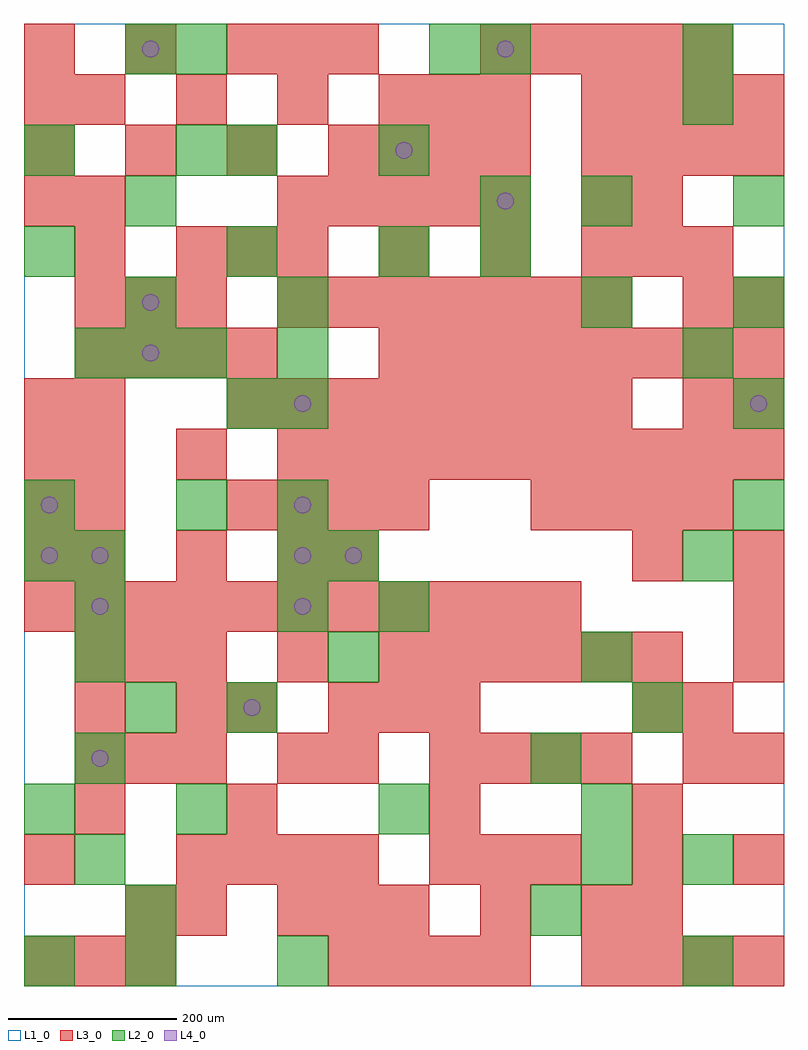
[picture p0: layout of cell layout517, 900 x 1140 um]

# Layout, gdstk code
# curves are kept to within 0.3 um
import gdstk
lib = gdstk.Library(unit=1e-6, precision=1e-09)
def R(c, l, rs):  # rectangles x0, y0, x1, y1
    for r in rs: c.add(gdstk.rectangle(r[:2], r[2:], *l))
def A(c, l, x, y, w, h, nx, ny, dx, dy):  # array of equal rectangles
    R(c, l, [(x+i*dx, y+j*dy, x+i*dx+w, y+j*dy+h) for i in range(nx) for j in range(ny)])
def P(c, l, *ps):  # polygons
    for p in ps: c.add(gdstk.Polygon(p, *l))
L1_0 = (1, 0)
L2_0 = (2, 0)
L3_0 = (3, 0)
L4_0 = (4, 0)

layout517 = lib.new_cell('layout517')
R(layout517, L1_0, [(0,0,900,1140)])
A(layout517, L2_0, 180, 180, 60, 60, 3, 1, 240, 0)
A(layout517, L2_0, 60, 360, 60, 60, 3, 1, 300, 0)
A(layout517, L2_0, 300, 420, 60, 60, 1, 3, 0, 60)
A(layout517, L2_0, 840, 540, 60, 60, 1, 4, 0, 120)
A(layout517, L2_0, 300, 660, 60, 60, 1, 3, 0, 60)
A(layout517, L2_0, 60, 720, 60, 60, 3, 1, 60, 0)
R(layout517, L2_0, [(0,0,60,60), (120,0,180,60), (300,0,360,60), (780,0,840,60), (120,60,180,120), (600,60,660,120), (60,120,120,180), (660,120,720,180), (780,120,840,180), (0,180,60,240), (60,240,120,300), (600,240,660,300), (120,300,180,360), (240,300,300,360), (720,300,780,360), (60,420,120,480), (420,420,480,480), (0,480,60,540), (60,480,120,540), (360,480,420,540), (780,480,840,540), (0,540,60,600), (180,540,240,600), (240,660,300,720), (780,720,840,780), (120,780,180,840), (660,780,720,840), (0,840,60,900), (240,840,300,900), (420,840,480,900), (540,840,600,900), (120,900,180,960), (540,900,600,960), (660,900,720,960), (0,960,60,1020), (180,960,240,1020), (240,960,300,1020), (420,960,480,1020), (780,1020,840,1080), (120,1080,180,1140), (180,1080,240,1140), (480,1080,540,1140), (540,1080,600,1140), (780,1080,840,1140)])
A(layout517, L3_0, 0, 0, 60, 60, 3, 1, 60, 0)
A(layout517, L3_0, 360, 0, 60, 60, 4, 1, 60, 0)
A(layout517, L3_0, 660, 0, 60, 60, 4, 2, 60, 960)
A(layout517, L3_0, 300, 60, 60, 60, 3, 1, 60, 0)
A(layout517, L3_0, 180, 120, 60, 60, 4, 1, 60, 0)
A(layout517, L3_0, 480, 120, 60, 60, 3, 1, 60, 0)
A(layout517, L3_0, 720, 120, 60, 60, 1, 3, 0, 180)
A(layout517, L3_0, 840, 120, 60, 60, 1, 3, 0, 120)
A(layout517, L3_0, 240, 180, 60, 60, 3, 1, 240, 0)
A(layout517, L3_0, 60, 240, 60, 60, 3, 2, 60, 120)
A(layout517, L3_0, 480, 240, 60, 60, 4, 1, 60, 0)
A(layout517, L3_0, 360, 300, 60, 60, 3, 1, 60, 0)
A(layout517, L3_0, 420, 360, 60, 60, 6, 1, 60, 0)
A(layout517, L3_0, 0, 420, 60, 60, 11, 1, 60, 0)
A(layout517, L3_0, 0, 480, 60, 60, 1, 4, 0, 60)
A(layout517, L3_0, 60, 480, 60, 60, 3, 2, 120, 120)
A(layout517, L3_0, 240, 540, 60, 60, 4, 1, 60, 0)
A(layout517, L3_0, 600, 540, 60, 60, 4, 1, 60, 0)
A(layout517, L3_0, 360, 600, 60, 60, 9, 1, 60, 0)
A(layout517, L3_0, 240, 660, 60, 60, 8, 1, 60, 0)
A(layout517, L3_0, 60, 720, 60, 60, 4, 1, 60, 0)
A(layout517, L3_0, 420, 720, 60, 60, 8, 1, 60, 0)
A(layout517, L3_0, 60, 780, 60, 60, 3, 1, 60, 0)
A(layout517, L3_0, 300, 780, 60, 60, 7, 1, 60, 0)
A(layout517, L3_0, 180, 840, 60, 60, 3, 1, 60, 0)
A(layout517, L3_0, 420, 840, 60, 60, 3, 1, 120, 0)
A(layout517, L3_0, 300, 900, 60, 60, 5, 1, 60, 0)
A(layout517, L3_0, 0, 960, 60, 60, 4, 1, 120, 0)
A(layout517, L3_0, 420, 960, 60, 60, 3, 1, 60, 0)
A(layout517, L3_0, 60, 1020, 60, 60, 4, 1, 120, 0)
A(layout517, L3_0, 660, 1020, 60, 60, 4, 1, 60, 0)
A(layout517, L3_0, 0, 1080, 60, 60, 3, 1, 120, 0)
A(layout517, L3_0, 540, 1080, 60, 60, 5, 1, 60, 0)
R(layout517, L3_0, [(120,60,180,120), (180,60,240,120), (540,60,600,120), (660,60,720,120), (720,60,780,120), (0,120,60,180), (60,180,120,240), (300,240,360,300), (360,240,420,300), (780,240,840,300), (60,300,120,360), (180,300,240,360), (240,300,300,360), (780,300,840,360), (300,360,360,420), (840,420,900,480), (360,480,420,540), (840,480,900,540), (60,540,120,600), (60,660,120,720), (780,660,840,720), (840,660,900,720), (780,780,840,840), (840,780,900,840), (60,840,120,900), (720,840,780,900), (780,840,840,900), (0,900,60,960), (60,900,120,960), (660,900,720,960), (720,900,780,960), (0,1020,60,1080), (480,1020,540,1080), (540,1020,600,1080), (300,1080,360,1140), (360,1080,420,1140)])
P(layout517, L4_0, [(40,510),(39.239,513.827),(37.071,517.071),(33.827,519.239),(30,520),(26.173,519.239),(22.929,517.071),(20.761,513.827),(20,510),(20.761,506.173),(22.929,502.929),(26.173,500.761),(30,500),(33.827,500.761),(37.071,502.929),(39.239,506.173)],
  [(40,570),(39.239,573.827),(37.071,577.071),(33.827,579.239),(30,580),(26.173,579.239),(22.929,577.071),(20.761,573.827),(20,570),(20.761,566.173),(22.929,562.929),(26.173,560.761),(30,560),(33.827,560.761),(37.071,562.929),(39.239,566.173)],
  [(100,270),(99.239,273.827),(97.071,277.071),(93.827,279.239),(90,280),(86.173,279.239),(82.929,277.071),(80.761,273.827),(80,270),(80.761,266.173),(82.929,262.929),(86.173,260.761),(90,260),(93.827,260.761),(97.071,262.929),(99.239,266.173)],
  [(100,450),(99.239,453.827),(97.071,457.071),(93.827,459.239),(90,460),(86.173,459.239),(82.929,457.071),(80.761,453.827),(80,450),(80.761,446.173),(82.929,442.929),(86.173,440.761),(90,440),(93.827,440.761),(97.071,442.929),(99.239,446.173)],
  [(100,510),(99.239,513.827),(97.071,517.071),(93.827,519.239),(90,520),(86.173,519.239),(82.929,517.071),(80.761,513.827),(80,510),(80.761,506.173),(82.929,502.929),(86.173,500.761),(90,500),(93.827,500.761),(97.071,502.929),(99.239,506.173)],
  [(160,750),(159.239,753.827),(157.071,757.071),(153.827,759.239),(150,760),(146.173,759.239),(142.929,757.071),(140.761,753.827),(140,750),(140.761,746.173),(142.929,742.929),(146.173,740.761),(150,740),(153.827,740.761),(157.071,742.929),(159.239,746.173)],
  [(160,810),(159.239,813.827),(157.071,817.071),(153.827,819.239),(150,820),(146.173,819.239),(142.929,817.071),(140.761,813.827),(140,810),(140.761,806.173),(142.929,802.929),(146.173,800.761),(150,800),(153.827,800.761),(157.071,802.929),(159.239,806.173)],
  [(160,1110),(159.239,1113.827),(157.071,1117.071),(153.827,1119.239),(150,1120),(146.173,1119.239),(142.929,1117.071),(140.761,1113.827),(140,1110),(140.761,1106.173),(142.929,1102.929),(146.173,1100.761),(150,1100),(153.827,1100.761),(157.071,1102.929),(159.239,1106.173)],
  [(280,330),(279.239,333.827),(277.071,337.071),(273.827,339.239),(270,340),(266.173,339.239),(262.929,337.071),(260.761,333.827),(260,330),(260.761,326.173),(262.929,322.929),(266.173,320.761),(270,320),(273.827,320.761),(277.071,322.929),(279.239,326.173)],
  [(340,450),(339.239,453.827),(337.071,457.071),(333.827,459.239),(330,460),(326.173,459.239),(322.929,457.071),(320.761,453.827),(320,450),(320.761,446.173),(322.929,442.929),(326.173,440.761),(330,440),(333.827,440.761),(337.071,442.929),(339.239,446.173)],
  [(340,510),(339.239,513.827),(337.071,517.071),(333.827,519.239),(330,520),(326.173,519.239),(322.929,517.071),(320.761,513.827),(320,510),(320.761,506.173),(322.929,502.929),(326.173,500.761),(330,500),(333.827,500.761),(337.071,502.929),(339.239,506.173)],
  [(340,570),(339.239,573.827),(337.071,577.071),(333.827,579.239),(330,580),(326.173,579.239),(322.929,577.071),(320.761,573.827),(320,570),(320.761,566.173),(322.929,562.929),(326.173,560.761),(330,560),(333.827,560.761),(337.071,562.929),(339.239,566.173)],
  [(340,690),(339.239,693.827),(337.071,697.071),(333.827,699.239),(330,700),(326.173,699.239),(322.929,697.071),(320.761,693.827),(320,690),(320.761,686.173),(322.929,682.929),(326.173,680.761),(330,680),(333.827,680.761),(337.071,682.929),(339.239,686.173)],
  [(400,510),(399.239,513.827),(397.071,517.071),(393.827,519.239),(390,520),(386.173,519.239),(382.929,517.071),(380.761,513.827),(380,510),(380.761,506.173),(382.929,502.929),(386.173,500.761),(390,500),(393.827,500.761),(397.071,502.929),(399.239,506.173)],
  [(460,990),(459.239,993.827),(457.071,997.071),(453.827,999.239),(450,1000),(446.173,999.239),(442.929,997.071),(440.761,993.827),(440,990),(440.761,986.173),(442.929,982.929),(446.173,980.761),(450,980),(453.827,980.761),(457.071,982.929),(459.239,986.173)],
  [(580,930),(579.239,933.827),(577.071,937.071),(573.827,939.239),(570,940),(566.173,939.239),(562.929,937.071),(560.761,933.827),(560,930),(560.761,926.173),(562.929,922.929),(566.173,920.761),(570,920),(573.827,920.761),(577.071,922.929),(579.239,926.173)],
  [(580,1110),(579.239,1113.827),(577.071,1117.071),(573.827,1119.239),(570,1120),(566.173,1119.239),(562.929,1117.071),(560.761,1113.827),(560,1110),(560.761,1106.173),(562.929,1102.929),(566.173,1100.761),(570,1100),(573.827,1100.761),(577.071,1102.929),(579.239,1106.173)],
  [(880,690),(879.239,693.827),(877.071,697.071),(873.827,699.239),(870,700),(866.173,699.239),(862.929,697.071),(860.761,693.827),(860,690),(860.761,686.173),(862.929,682.929),(866.173,680.761),(870,680),(873.827,680.761),(877.071,682.929),(879.239,686.173)])

lib.write_gds('layout517.gds')
